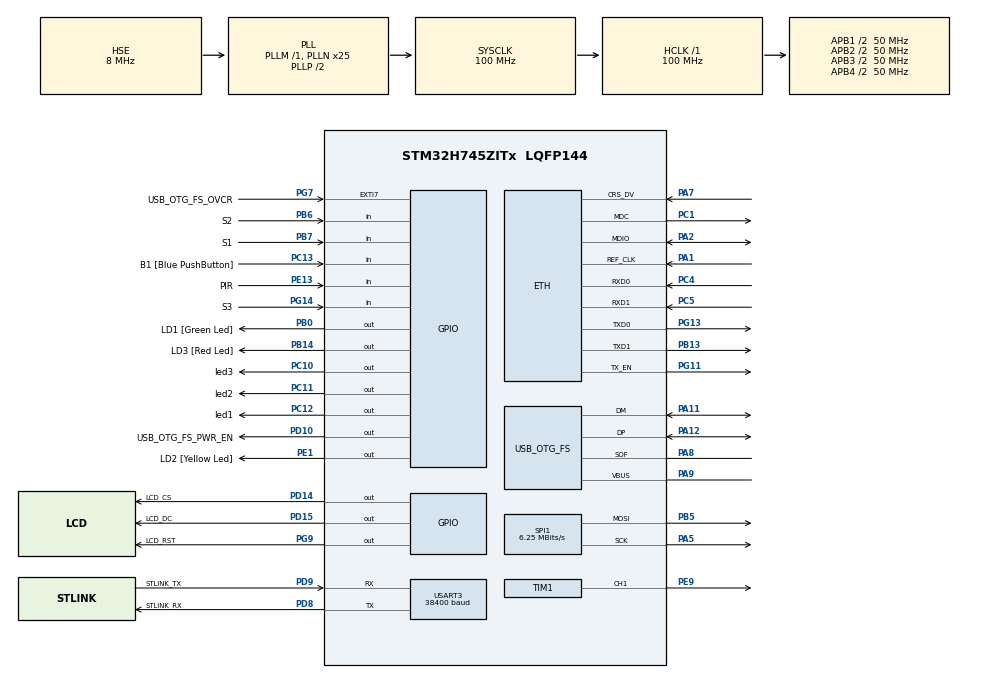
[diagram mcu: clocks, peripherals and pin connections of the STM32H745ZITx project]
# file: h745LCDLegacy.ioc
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CortexM4.IPs=FATFS_M4\:I,FREERTOS_M4\:I,IWDG2\:I,RCC,WWDG2\:I,DMA,BDMA,MDMA,NVIC2\:I,ETH,DEBUG,USB_DEVICE_M4\:I,USB_HOST_M4\:I,PDM2PCM_M4\:I,PWR,RESMGR_UTILITY,SYS_M4\:I,CORTEX_M4\:I,OPENAMP_M4\:I,VREFBUF
CortexM4.Pins=PE13,PG14,PB6,PB7
CortexM7.IPs=FATFS_M7\:I,FREERTOS_M7\:I,IWDG1\:I,RCC\:I,WWDG1\:I,DMA\:I,BDMA\:I,MDMA\:I,NVIC1\:I,SYS\:I,USART3\:I,USB_OTG_FS\:I,ETH\:I,CORTEX_M7\:I,DEBUG\:I,USB_DEVICE_M7\:I,USB_HOST_M7\:I,PDM2PCM_M7\:I,PWR\:I,RESMGR_UTILITY\:I,OPENAMP_M7\:I,VREFBUF\:I,SPI1\:I,TIM1\:I,RTC\:I
CortexM7.Pins=PB0,PD14,PD15,PC10,PC11,PC12,PG9
Dma.Request0=SPI1_TX
Dma.Request1=USART3_RX
Dma.Request2=USART3_TX
Dma.SPI1_TX.0.Direction=DMA_MEMORY_TO_PERIPH
Dma.SPI1_TX.0.EventEnable=DISABLE
Dma.SPI1_TX.0.FIFOMode=DMA_FIFOMODE_DISABLE
Dma.SPI1_TX.0.Instance=DMA1_Stream0
Dma.SPI1_TX.0.MemDataAlignment=DMA_MDATAALIGN_BYTE
Dma.SPI1_TX.0.MemInc=DMA_MINC_ENABLE
Dma.SPI1_TX.0.Mode=DMA_NORMAL
Dma.SPI1_TX.0.PeriphDataAlignment=DMA_PDATAALIGN_BYTE
Dma.SPI1_TX.0.PeriphInc=DMA_PINC_DISABLE
Dma.SPI1_TX.0.Polarity=HAL_DMAMUX_REQ_GEN_RISING
Dma.SPI1_TX.0.Priority=DMA_PRIORITY_LOW
Dma.SPI1_TX.0.RequestNumber=1
Dma.SPI1_TX.0.SignalID=NONE
Dma.SPI1_TX.0.SyncEnable=DISABLE
Dma.SPI1_TX.0.SyncPolarity=HAL_DMAMUX_SYNC_NO_EVENT
Dma.SPI1_TX.0.SyncRequestNumber=1
Dma.SPI1_TX.0.SyncSignalID=NONE
Dma.USART3_RX.1.Direction=DMA_PERIPH_TO_MEMORY
Dma.USART3_RX.1.EventEnable=DISABLE
Dma.USART3_RX.1.FIFOMode=DMA_FIFOMODE_DISABLE
Dma.USART3_RX.1.Instance=DMA1_Stream1
Dma.USART3_RX.1.MemDataAlignment=DMA_MDATAALIGN_BYTE
Dma.USART3_RX.1.MemInc=DMA_MINC_ENABLE
Dma.USART3_RX.1.Mode=DMA_CIRCULAR
Dma.USART3_RX.1.PeriphDataAlignment=DMA_PDATAALIGN_BYTE
Dma.USART3_RX.1.PeriphInc=DMA_PINC_DISABLE
Dma.USART3_RX.1.Polarity=HAL_DMAMUX_REQ_GEN_RISING
Dma.USART3_RX.1.Priority=DMA_PRIORITY_LOW
Dma.USART3_RX.1.RequestNumber=1
Dma.USART3_RX.1.SignalID=NONE
Dma.USART3_RX.1.SyncEnable=DISABLE
Dma.USART3_RX.1.SyncPolarity=HAL_DMAMUX_SYNC_NO_EVENT
Dma.USART3_RX.1.SyncRequestNumber=1
Dma.USART3_RX.1.SyncSignalID=NONE
Dma.USART3_TX.2.Direction=DMA_MEMORY_TO_PERIPH
Dma.USART3_TX.2.EventEnable=DISABLE
Dma.USART3_TX.2.FIFOMode=DMA_FIFOMODE_DISABLE
Dma.USART3_TX.2.Instance=DMA1_Stream2
Dma.USART3_TX.2.MemDataAlignment=DMA_MDATAALIGN_BYTE
Dma.USART3_TX.2.MemInc=DMA_MINC_ENABLE
Dma.USART3_TX.2.Mode=DMA_NORMAL
Dma.USART3_TX.2.PeriphDataAlignment=DMA_PDATAALIGN_BYTE
Dma.USART3_TX.2.PeriphInc=DMA_PINC_DISABLE
Dma.USART3_TX.2.Polarity=HAL_DMAMUX_REQ_GEN_RISING
Dma.USART3_TX.2.Priority=DMA_PRIORITY_LOW
Dma.USART3_TX.2.RequestNumber=1
Dma.USART3_TX.2.SignalID=NONE
Dma.USART3_TX.2.SyncEnable=DISABLE
Dma.USART3_TX.2.SyncPolarity=HAL_DMAMUX_SYNC_NO_EVENT
Dma.USART3_TX.2.SyncRequestNumber=1
Dma.USART3_TX.2.SyncSignalID=NONE
ETH.MediaInterface=HAL_ETH_RMII_MODE
Mcu.Family=STM32H7
Mcu.Name=STM32H745ZITx
Mcu.Package=LQFP144
NVIC1.DMA1_Stream0_IRQn=true\:0\:0\:false\:false\:true\:false\:true
NVIC1.DMA1_Stream1_IRQn=true\:0\:0\:false\:false\:true\:false\:true
NVIC1.DMA1_Stream2_IRQn=true\:0\:0\:false\:false\:true\:false\:true
NVIC1.PriorityGroup=NVIC_PRIORITYGROUP_4
NVIC1.RTC_Alarm_IRQn=true\:0\:0\:false\:false\:true\:true\:true
NVIC1.SPI1_IRQn=true\:0\:0\:false\:false\:true\:false\:true
NVIC1.USART3_IRQn=true\:0\:0\:false\:false\:true\:true\:true
NVIC2.PriorityGroup=NVIC_PRIORITYGROUP_4
PA1.Mode=RMII
PA1.PinAttribute=CortexM7
PA1.Signal=ETH_REF_CLK
PA11.Mode=Device_Only
PA11.PinAttribute=CortexM7
PA11.Signal=USB_OTG_FS_DM
PA12.Mode=Device_Only
PA12.PinAttribute=CortexM7
PA12.Signal=USB_OTG_FS_DP
PA2.Mode=RMII
PA2.PinAttribute=CortexM7
PA2.Signal=ETH_MDIO
PA5.Mode=TX_Only_Simplex_Unidirect_Master
PA5.PinAttribute=CortexM7
PA5.Signal=SPI1_SCK
PA7.Mode=RMII
PA7.PinAttribute=CortexM7
PA7.Signal=ETH_CRS_DV
PA8.Mode=Activate_SOF_FS
PA8.PinAttribute=CortexM7
PA8.Signal=USB_OTG_FS_SOF
PA9.Mode=Activate_VBUS
PA9.PinAttribute=CortexM7
PA9.Signal=USB_OTG_FS_VBUS
PB0.GPIO_Label=LD1 [Green Led]
PB0.PinAttribute=CortexM7
PB0.Signal=GPIO_Output
PB13.Mode=RMII
PB13.PinAttribute=CortexM7
PB13.Signal=ETH_TXD1
PB14.GPIO_Label=LD3 [Red Led]
PB14.PinAttribute=Free
PB14.Signal=GPIO_Output
PB5.Mode=TX_Only_Simplex_Unidirect_Master
PB5.PinAttribute=CortexM7
PB5.Signal=SPI1_MOSI
PB6.GPIO_Label=S2
PB6.GPIO_Mode=GPIO_MODE_INPUT
PB6.PinAttribute=CortexM4
PB6.Signal=GPIO_Input
PB7.GPIO_Label=S1
PB7.GPIO_Mode=GPIO_MODE_INPUT
PB7.PinAttribute=CortexM4
PB7.Signal=GPIO_Input
PC1.Mode=RMII
PC1.PinAttribute=CortexM7
PC1.Signal=ETH_MDC
PC10.GPIO_Label=led3
PC10.PinAttribute=CortexM7
PC10.PinState=GPIO_PIN_SET
PC10.Signal=GPIO_Output
PC11.GPIO_Label=led2
PC11.PinAttribute=CortexM7
PC11.PinState=GPIO_PIN_SET
PC11.Signal=GPIO_Output
PC12.GPIO_Label=led1
PC12.PinAttribute=CortexM7
PC12.PinState=GPIO_PIN_SET
PC12.Signal=GPIO_Output
PC13.GPIO_Label=B1 [Blue PushButton]
PC13.PinAttribute=Free
PC13.Signal=GPIO_Input
PC14-OSC32_IN\ (OSC32_IN).Mode=LSE-External-Oscillator
PC14-OSC32_IN\ (OSC32_IN).PinAttribute=CortexM7
PC14-OSC32_IN\ (OSC32_IN).Signal=RCC_OSC32_IN
PC15-OSC32_OUT\ (OSC32_OUT).Mode=LSE-External-Oscillator
PC15-OSC32_OUT\ (OSC32_OUT).PinAttribute=CortexM7
PC15-OSC32_OUT\ (OSC32_OUT).Signal=RCC_OSC32_OUT
PC4.Mode=RMII
PC4.PinAttribute=CortexM7
PC4.Signal=ETH_RXD0
PC5.Mode=RMII
PC5.PinAttribute=CortexM7
PC5.Signal=ETH_RXD1
PD10.GPIO_Label=USB_OTG_FS_PWR_EN
PD10.PinAttribute=Free
PD10.Signal=GPIO_Output
PD14.GPIO_Label=LCD_CS
PD14.PinAttribute=CortexM7
PD14.PinState=GPIO_PIN_SET
PD14.Signal=GPIO_Output
PD15.GPIO_Label=LCD_DC
PD15.PinAttribute=CortexM7
PD15.Signal=GPIO_Output
PD8.GPIO_Label=STLINK_RX
PD8.Mode=Asynchronous
PD8.PinAttribute=CortexM7
PD8.Signal=USART3_TX
PD9.GPIO_Label=STLINK_TX
PD9.Mode=Asynchronous
PD9.PinAttribute=CortexM7
PD9.Signal=USART3_RX
PE1.GPIO_Label=LD2 [Yellow Led]
PE1.PinAttribute=Free
PE1.Signal=GPIO_Output
PE13.GPIO_Label=PIR
PE13.PinAttribute=CortexM4
PE13.Signal=GPIO_Input
PE9.PinAttribute=CortexM7
PE9.Signal=S_TIM1_CH1
PG11.Mode=RMII
PG11.PinAttribute=CortexM7
PG11.Signal=ETH_TX_EN
PG13.Mode=RMII
PG13.PinAttribute=CortexM7
PG13.Signal=ETH_TXD0
PG14.GPIO_Label=S3
PG14.GPIO_Mode=GPIO_MODE_INPUT
PG14.PinAttribute=CortexM4
PG14.Signal=GPIO_Input
PG7.GPIO_Label=USB_OTG_FS_OVCR
PG7.PinAttribute=Free
PG7.Signal=GPXTI7
PG9.GPIO_Label=LCD_RST
PG9.PinAttribute=CortexM7
PG9.PinState=GPIO_PIN_SET
PG9.Signal=GPIO_Output
PH0-OSC_IN\ (PH0).Mode=HSE-External-Clock-Source
PH0-OSC_IN\ (PH0).PinAttribute=CortexM7
PH0-OSC_IN\ (PH0).Signal=RCC_OSC_IN
PH1-OSC_OUT\ (PH1).PinAttribute=CortexM7
PH1-OSC_OUT\ (PH1).Signal=RCC_OSC_OUT
ProjectManager.HeapSize=M4-0x200,M7-0x200
ProjectManager.StackSize=M4-0x400,M7-0x400
ProjectManager.TargetToolchain=STM32CubeIDE
RCC.ADCFreq_Value=16125000
RCC.APB1Freq_Value=50000000
RCC.APB2Freq_Value=50000000
RCC.APB3Freq_Value=50000000
RCC.APB4Freq_Value=50000000
RCC.CortexFreq_Value=100000000
RCC.D1PPRE=RCC_APB3_DIV2
RCC.D2PPRE1=RCC_APB1_DIV2
RCC.D2PPRE2=RCC_APB2_DIV2
RCC.D3PPRE=RCC_APB4_DIV2
RCC.DIVM1=1
RCC.DIVM3=1
RCC.DIVN1=25
RCC.DIVN3=18
RCC.DIVQ3=3
RCC.HCLKFreq_Value=100000000
RCC.HSE_VALUE=8000000
RCC.PLL2FRACN=0
RCC.PLL3FRACN=6144
RCC.PLLFRACN=0
RCC.PWR_Regulator_Voltage_Scale=PWR_REGULATOR_VOLTAGE_SCALE0
RCC.SYSCLKFreq_VALUE=100000000
RCC.SYSCLKSource=RCC_SYSCLKSOURCE_PLLCLK
RCC.SupplySource=PWR_DIRECT_SMPS_SUPPLY
RCC.USBCLockSelection=RCC_USBCLKSOURCE_PLL3
RCC.USBFreq_Value=50000000
RTC.Alarm-Alarm\ A=RTC_ALARM_A
RTC.AlarmMaskHours-Alarm\ A=RTC_ALARMMASK_HOURS
RTC.AlarmMaskMinutes-Alarm\ A=RTC_ALARMMASK_MINUTES
RTC.AlarmMaskSeconds-Alarm\ A=RTC_ALARMMASK_SECONDS
SH.S_TIM1_CH1.0=TIM1_CH1,PWM Generation1 CH1
SPI1.BaudRatePrescaler=SPI_BAUDRATEPRESCALER_16
SPI1.CalculateBaudRate=6.25 MBits/s
SPI1.DataSize=SPI_DATASIZE_8BIT
SPI1.Direction=SPI_DIRECTION_2LINES_TXONLY
SPI1.MasterKeepIOState=SPI_MASTER_KEEP_IO_STATE_ENABLE
SPI1.Mode=SPI_MODE_MASTER
SPI1.VirtualType=VM_MASTER
TIM1.Channel-PWM\ Generation1\ CH1=TIM_CHANNEL_1
TIM1.Period=10000
TIM1.Prescaler=0
USART3.BaudRate=38400
USART3.VirtualMode-Asynchronous=VM_ASYNC
USB_OTG_FS.VirtualMode=Device_Only
VP_RTC_VS_RTC_Activate.Mode=RTC_Enabled
VP_RTC_VS_RTC_Alarm_A_Intern.Mode=Alarm A
VP_RTC_VS_RTC_Calendar.Mode=RTC_Calendar
VP_RTC_VS_RTC_WakeUp_intern.Mode=WakeUp
VP_SYS_M4_VS_Systick.Mode=SysTick
VP_TIM1_VS_ClockSourceINT.Mode=Internal
board=NUCLEO-H745ZI-Q

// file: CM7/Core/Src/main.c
/* USER CODE BEGIN Header */
/**
 ******************************************************************************
 * @file           : main.c
 * @brief          : Main program body
 ******************************************************************************
 * @attention
 *
 * <h2><center>&copy; Copyright (c) 2021 STMicroelectronics.
 * All rights reserved.</center></h2>
 *
 * This software component is licensed by ST under BSD 3-Clause license,
 * the "License"; You may not use this file except in compliance with the
 * License. You may obtain a copy of the License at:
 *                        opensource.org/licenses/BSD-3-Clause
 *
 ******************************************************************************
 */
/* USER CODE END Header */
#include "main.h"
#include "string.h"

/* USER CODE BEGIN Includes */
#include "ST7735.h"
#include "Uart.h"
/* USER CODE END Includes */

/* USER CODE BEGIN PTD */
RTC_TimeTypeDef sTime={0};
RTC_DateTypeDef sDate ={0};
RTC_AlarmTypeDef sAlarm = { 0 };
/* USER CODE END PTD */

/* USER CODE BEGIN PD */

#ifndef HSEM_ID_0
#define HSEM_ID_0 (0U) /* HW semaphore 0*/
#endif
/* USER CODE END PD */

#if defined ( __ICCARM__ ) /*!< IAR Compiler */

#pragma location=0x30040000
ETH_DMADescTypeDef  DMARxDscrTab[ETH_RX_DESC_CNT]; /* Ethernet Rx DMA Descriptors */
#pragma location=0x30040060
ETH_DMADescTypeDef  DMATxDscrTab[ETH_TX_DESC_CNT]; /* Ethernet Tx DMA Descriptors */
#pragma location=0x30040200
uint8_t Rx_Buff[ETH_RX_DESC_CNT][ETH_MAX_PACKET_SIZE]; /* Ethernet Receive Buffers */

#elif defined ( __CC_ARM )  /* MDK ARM Compiler */

__attribute__((at(0x30040000))) ETH_DMADescTypeDef  DMARxDscrTab[ETH_RX_DESC_CNT]; /* Ethernet Rx DMA Descriptors */
__attribute__((at(0x30040060))) ETH_DMADescTypeDef  DMATxDscrTab[ETH_TX_DESC_CNT]; /* Ethernet Tx DMA Descriptors */
__attribute__((at(0x30040200))) uint8_t Rx_Buff[ETH_RX_DESC_CNT][ETH_MAX_PACKET_SIZE]; /* Ethernet Receive Buffer */

#elif defined ( __GNUC__ ) /* GNU Compiler */

ETH_DMADescTypeDef DMARxDscrTab[ETH_RX_DESC_CNT] __attribute__((section(".RxDecripSection"))); /* Ethernet Rx DMA Descriptors */
ETH_DMADescTypeDef DMATxDscrTab[ETH_TX_DESC_CNT] __attribute__((section(".TxDecripSection")));   /* Ethernet Tx DMA Descriptors */
uint8_t Rx_Buff[ETH_RX_DESC_CNT][ETH_MAX_PACKET_SIZE] __attribute__((section(".RxArraySection"))); /* Ethernet Receive Buffers */

#endif

ETH_TxPacketConfig TxConfig;

ETH_HandleTypeDef heth;

RTC_HandleTypeDef hrtc;

SPI_HandleTypeDef hspi1;
DMA_HandleTypeDef hdma_spi1_tx;

TIM_HandleTypeDef htim1;

UART_HandleTypeDef huart3;
DMA_HandleTypeDef hdma_usart3_rx;
DMA_HandleTypeDef hdma_usart3_tx;

PCD_HandleTypeDef hpcd_USB_OTG_FS;

/* USER CODE BEGIN PV */
//share information
typedef struct
{
	uint32_t PWM; //pulse width modulation
	uint8_t fan_mode; //fan mode
	uint8_t mode_change; //fan has changed mode
	uint8_t RTC_ON; //rtc is working
	uint8_t RTC_change; //rtc has changed status
	uint8_t finish; //finish task (motor run 1 min)
	uint8_t led1; //led1 status
	uint8_t led2; //led2 status
	uint8_t led3; //led3 status
}SharedType;

SharedType *shareMemory = (SharedType*)(0x38000000); //share memory address

LCDHandle ST7735 = { 0 }; //lcd pin
UARTStucrture UART2 ={ 0 };

//RTC time
RTC_TimeTypeDef NowTime;
RTC_DateTypeDef NowDate;
uint8_t RTC_start = 1;

/* USER CODE END PV */

void SystemClock_Config(void);
static void MX_GPIO_Init(void);
static void MX_ETH_Init(void);
static void MX_USART3_UART_Init(void);
static void MX_DMA_Init(void);
static void MX_SPI1_Init(void);
static void MX_USB_OTG_FS_PCD_Init(void);
static void MX_TIM1_Init(void);
static void MX_RTC_Init(void);

int main(void)
{
/* USER CODE BEGIN Boot_Mode_Sequence_0 */
	int32_t timeout;
/* USER CODE END Boot_Mode_Sequence_0 */

/* USER CODE BEGIN Boot_Mode_Sequence_1 */
	/* Wait until CPU2 boots and enters in stop mode or timeout*/
	timeout = 0xFFFF;
	while ((__HAL_RCC_GET_FLAG(RCC_FLAG_D2CKRDY) != RESET) && (timeout-- > 0))
		;
	if (timeout < 0) {
		Error_Handler();
	}
/* USER CODE END Boot_Mode_Sequence_1 */
  /* MCU Configuration--------------------------------------------------------*/

  /* Reset of all peripherals, Initializes the Flash interface and the Systick. */
  HAL_Init();

  /* Configure the system clock */
  SystemClock_Config();
/* USER CODE BEGIN Boot_Mode_Sequence_2 */
	/* When system initialization is finished, Cortex-M7 will release Cortex-M4 by means of
	 HSEM notification */
	/*HW semaphore Clock enable*/
	__HAL_RCC_HSEM_CLK_ENABLE();
	/*Take HSEM */
	HAL_HSEM_FastTake(HSEM_ID_0);
	/*Release HSEM in order to notify the CPU2(CM4)*/
	HAL_HSEM_Release(HSEM_ID_0, 0);
	/* wait until CPU2 wakes up from stop mode */
	timeout = 0xFFFF;
	while ((__HAL_RCC_GET_FLAG(RCC_FLAG_D2CKRDY) == RESET) && (timeout-- > 0))
		;
	if (timeout < 0) {
		Error_Handler();
	}
/* USER CODE END Boot_Mode_Sequence_2 */

  /* Initialize all configured peripherals */
  MX_GPIO_Init();
  MX_ETH_Init();
  MX_USART3_UART_Init();
  MX_DMA_Init();
  MX_SPI1_Init();
  MX_USB_OTG_FS_PCD_Init();
  MX_TIM1_Init();
  MX_RTC_Init();
  /* USER CODE BEGIN 2 */

  	//�?ำหนดขา pin
	ST7735.hspi = &hspi1;
	ST7735.CSPort = GPIOD;
	ST7735.CSPin = GPIO_PIN_14;
	ST7735.DCPort = GPIOD;
	ST7735.DCPin = GPIO_PIN_15;
	ST7735.RstPort = GPIOG;
	ST7735.RstPin = GPIO_PIN_9;
	//เริ่ม�?ารเขียน sequence data
	LCD_init(&ST7735);

	//รับข้อมูลภาพด้วย uart
//	UART2.huart = &huart3;
//	UART2.RxLen =255;
//	UART2.TxLen =255;
//	UARTInit(&UART2);
//	UARTResetStart(&UART2);

	//start pwm
	//tim1 @APB2 timer clock 100 MHz
	//counter period 10000 -> 10 kHz
	//couter period 10000 = pwm 100%
	HAL_TIM_Base_Start(&htim1);
	HAL_TIM_PWM_Start(&htim1, TIM_CHANNEL_1);

	//initial parameter
	shareMemory->PWM = 2500; //pwm @ 25%
	shareMemory->fan_mode = 1; //fan low speed
	shareMemory->mode_change = 0; //if fan changes mode
	shareMemory->RTC_ON = 0; //does rtc work?
	shareMemory->RTC_change = 0; //rtc change
	shareMemory->finish = 0; //does fan work 1 min?
	shareMemory->led1 = 0; //led1 status
	shareMemory->led2 = 1; //led2 status
	shareMemory->led3 = 1; //led3 status

	//led setup
	HAL_GPIO_WritePin(led1_GPIO_Port, led1_Pin, shareMemory->led1); //show led1
	HAL_GPIO_WritePin(led2_GPIO_Port, led2_Pin, shareMemory->led2); //close led2
	HAL_GPIO_WritePin(led3_GPIO_Port, led3_Pin, shareMemory->led3); //close led3

	//lcd UI
	memcpy(Framememory,fan,sizeof(fan)); //background
	LCD_speed(shareMemory->fan_mode); //show fan mode
	LCD_fan(shareMemory->RTC_ON); //show rtc status
	LCD_timer(0x00); //show timer
	//flush ข้อมูล dma
	LCD_flush(&ST7735);

  /* USER CODE END 2 */

  /* Infinite loop */
	while (1) {

    /* USER CODE BEGIN 3 */
		if (HAL_HSEM_FastTake(1) == HAL_OK) //hsem cm7 is ready
		{

			if (shareMemory->RTC_change ) //rtc status change
			{
				LCD_fan(shareMemory->RTC_ON); //show fan status on
				LCD_flush(&ST7735); //spi transmit dma normal
				shareMemory->RTC_change = 0; //change rtc status (reset)

				//rtc work
				//start clock
				RTC_TimeTypeDef sTime = {0};
				sTime.Hours =0x00; //0x14 (2 pm.)
				sTime.Minutes =0x00; //0x30 (half hour or 30 min)
				sTime.Seconds = 0x00; // 0 second
				HAL_RTC_SetTime(&hrtc, &sTime, RTC_FORMAT_BCD);//set rtc

			}

			if (shareMemory->mode_change) //fan mode chande
			{
				LCD_speed(shareMemory->fan_mode); //change fan speed
				LCD_flush(&ST7735); //spi transmit dma normal
				shareMemory->mode_change = 0; ////change fan status (reset)
				HAL_GPIO_WritePin(led1_GPIO_Port, led1_Pin, shareMemory->led1); //show led1
				HAL_GPIO_WritePin(led2_GPIO_Port, led2_Pin, shareMemory->led2); //show led2
				HAL_GPIO_WritePin(led3_GPIO_Port, led3_Pin, shareMemory->led3); //show led3
			}

			if (shareMemory->RTC_ON == 1) //if rtc work
			{
				RTC_TimeTypeDef sTime = NowTime; //save time

				//time over flow
				if (sTime.Seconds >= 0x60)
				{
					sTime.Seconds -= 0x60;
					sTime.Minutes++;
					if (sTime.Minutes >= 0x60)
					{
						sTime.Minutes -= 0x60;
						sTime.Hours++;
						if (sTime.Hours >= 0x24)
						{
							sTime.Hours -= 0x24;
						}
					}
				}

				//if fan does not work for 1 min
				if (sTime.Minutes < 0x01)
				{
					__HAL_TIM_SET_COMPARE(&htim1, TIM_CHANNEL_1, shareMemory->PWM); //drive motor

					//show timer every 15 sec
					if (sTime.Seconds == 0x00 || sTime.Seconds == 0x15 || sTime.Seconds ==0x30 ||sTime.Seconds == 0x45)
					{
						LCD_timer(sTime.Seconds); //show timer
						LCD_flush(&ST7735); //spi transmit dma normal
					}

				}
				//if fan works for 1 min
				else
				{
					shareMemory->RTC_ON = 0; //rtc work done (reset)
					shareMemory->finish = 1; //work for 1 min is done
					__HAL_TIM_SET_COMPARE(&htim1, TIM_CHANNEL_1,0); //stop driving motor

					LCD_timer(0x60); //show 60 sec
					LCD_fan(shareMemory->RTC_ON); //show rtc status
					LCD_flush(&ST7735); //spi transmit dma normal

				}
			}

			//read RTC
			HAL_RTC_GetTime(&hrtc, &NowTime, RTC_FORMAT_BCD);
			HAL_RTC_GetDate(&hrtc, &NowDate, RTC_FORMAT_BCD);

			//hsem release
			HAL_HSEM_Release(1, 0);
		}

		//test lcd
//		Framememory[20000] = 255;
//		Framememory[20001] = 0;
//		Framememory[20002] = 0;
//		memcpy(Framememory,owl,sizeof(owl));

//		int16_t read = UARTReadChar(&UART2) ;
//		if(read != -1)
//			{
//				BMPDecoder(read, LCDBufferAddr());
//			}
	}
  /* USER CODE END 3 */
}

void SystemClock_Config(void)
{
  RCC_OscInitTypeDef RCC_OscInitStruct = {0};
  RCC_ClkInitTypeDef RCC_ClkInitStruct = {0};

  /** Supply configuration update enable
  */
  HAL_PWREx_ConfigSupply(PWR_DIRECT_SMPS_SUPPLY);
  /** Configure the main internal regulator output voltage
  */
  __HAL_PWR_VOLTAGESCALING_CONFIG(PWR_REGULATOR_VOLTAGE_SCALE0);

  while(!__HAL_PWR_GET_FLAG(PWR_FLAG_VOSRDY)) {}
  /** Macro to configure the PLL clock source
  */
  __HAL_RCC_PLL_PLLSOURCE_CONFIG(RCC_PLLSOURCE_HSE);
  /** Initializes the RCC Oscillators according to the specified parameters
  * in the RCC_OscInitTypeDef structure.
  */
  RCC_OscInitStruct.OscillatorType = RCC_OSCILLATORTYPE_LSI|RCC_OSCILLATORTYPE_HSE;
  RCC_OscInitStruct.HSEState = RCC_HSE_BYPASS;
  RCC_OscInitStruct.LSIState = RCC_LSI_ON;
  RCC_OscInitStruct.PLL.PLLState = RCC_PLL_ON;
  RCC_OscInitStruct.PLL.PLLSource = RCC_PLLSOURCE_HSE;
  RCC_OscInitStruct.PLL.PLLM = 1;
  RCC_OscInitStruct.PLL.PLLN = 25;
  RCC_OscInitStruct.PLL.PLLP = 2;
  RCC_OscInitStruct.PLL.PLLQ = 2;
  RCC_OscInitStruct.PLL.PLLR = 2;
  RCC_OscInitStruct.PLL.PLLRGE = RCC_PLL1VCIRANGE_3;
  RCC_OscInitStruct.PLL.PLLVCOSEL = RCC_PLL1VCOWIDE;
  RCC_OscInitStruct.PLL.PLLFRACN = 0;
  if (HAL_RCC_OscConfig(&RCC_OscInitStruct) != HAL_OK)
  {
    Error_Handler();
  }
  /** Initializes the CPU, AHB and APB buses clocks
  */
  RCC_ClkInitStruct.ClockType = RCC_CLOCKTYPE_HCLK|RCC_CLOCKTYPE_SYSCLK
                              |RCC_CLOCKTYPE_PCLK1|RCC_CLOCKTYPE_PCLK2
                              |RCC_CLOCKTYPE_D3PCLK1|RCC_CLOCKTYPE_D1PCLK1;
  RCC_ClkInitStruct.SYSCLKSource = RCC_SYSCLKSOURCE_PLLCLK;
  RCC_ClkInitStruct.SYSCLKDivider = RCC_SYSCLK_DIV1;
  RCC_ClkInitStruct.AHBCLKDivider = RCC_HCLK_DIV1;
  RCC_ClkInitStruct.APB3CLKDivider = RCC_APB3_DIV2;
  RCC_ClkInitStruct.APB1CLKDivider = RCC_APB1_DIV2;
  RCC_ClkInitStruct.APB2CLKDivider = RCC_APB2_DIV2;
  RCC_ClkInitStruct.APB4CLKDivider = RCC_APB4_DIV2;

  if (HAL_RCC_ClockConfig(&RCC_ClkInitStruct, FLASH_LATENCY_1) != HAL_OK)
  {
    Error_Handler();
  }
}

static void MX_ETH_Init(void)
{

   static uint8_t MACAddr[6];

  heth.Instance = ETH;
  MACAddr[0] = 0x00;
  MACAddr[1] = 0x80;
  MACAddr[2] = 0xE1;
  MACAddr[3] = 0x00;
  MACAddr[4] = 0x00;
  MACAddr[5] = 0x00;
  heth.Init.MACAddr = &MACAddr[0];
  heth.Init.MediaInterface = HAL_ETH_RMII_MODE;
  heth.Init.TxDesc = DMATxDscrTab;
  heth.Init.RxDesc = DMARxDscrTab;
  heth.Init.RxBuffLen = 1524;

  if (HAL_ETH_Init(&heth) != HAL_OK)
  {
    Error_Handler();
  }

  memset(&TxConfig, 0 , sizeof(ETH_TxPacketConfig));
  TxConfig.Attributes = ETH_TX_PACKETS_FEATURES_CSUM | ETH_TX_PACKETS_FEATURES_CRCPAD;
  TxConfig.ChecksumCtrl = ETH_CHECKSUM_IPHDR_PAYLOAD_INSERT_PHDR_CALC;
  TxConfig.CRCPadCtrl = ETH_CRC_PAD_INSERT;

}

static void MX_RTC_Init(void)
{

  RTC_TimeTypeDef sTime = {0};
  RTC_DateTypeDef sDate = {0};
  RTC_AlarmTypeDef sAlarm = {0};

  /** Initialize RTC Only
  */
  hrtc.Instance = RTC;
  hrtc.Init.HourFormat = RTC_HOURFORMAT_24;
  hrtc.Init.AsynchPrediv = 127;
  hrtc.Init.SynchPrediv = 255;
  hrtc.Init.OutPut = RTC_OUTPUT_DISABLE;
  hrtc.Init.OutPutPolarity = RTC_OUTPUT_POLARITY_HIGH;
  hrtc.Init.OutPutType = RTC_OUTPUT_TYPE_OPENDRAIN;
  hrtc.Init.OutPutRemap = RTC_OUTPUT_REMAP_NONE;
  if (HAL_RTC_Init(&hrtc) != HAL_OK)
  {
    Error_Handler();
  }

  /** Initialize RTC and set the Time and Date
  */
  sTime.Hours = 0x0;
  sTime.Minutes = 0x0;
  sTime.Seconds = 0x0;
  sTime.DayLightSaving = RTC_DAYLIGHTSAVING_NONE;
  sTime.StoreOperation = RTC_STOREOPERATION_RESET;
  if (HAL_RTC_SetTime(&hrtc, &sTime, RTC_FORMAT_BCD) != HAL_OK)
  {
    Error_Handler();
  }
  sDate.WeekDay = RTC_WEEKDAY_MONDAY;
  sDate.Month = RTC_MONTH_JANUARY;
  sDate.Date = 0x1;
  sDate.Year = 0x0;
  if (HAL_RTC_SetDate(&hrtc, &sDate, RTC_FORMAT_BCD) != HAL_OK)
  {
    Error_Handler();
  }
  /** Enable the Alarm A
  */
  sAlarm.AlarmTime.Hours = 0x0;
  sAlarm.AlarmTime.Minutes = 0x0;
  sAlarm.AlarmTime.Seconds = 0x0;
  sAlarm.AlarmTime.SubSeconds = 0x0;
  sAlarm.AlarmTime.DayLightSaving = RTC_DAYLIGHTSAVING_NONE;
  sAlarm.AlarmTime.StoreOperation = RTC_STOREOPERATION_RESET;
  sAlarm.AlarmMask = RTC_ALARMMASK_HOURS|RTC_ALARMMASK_MINUTES
                              |RTC_ALARMMASK_SECONDS;
  sAlarm.AlarmSubSecondMask = RTC_ALARMSUBSECONDMASK_ALL;
  sAlarm.AlarmDateWeekDaySel = RTC_ALARMDATEWEEKDAYSEL_DATE;
  sAlarm.AlarmDateWeekDay = 0x1;
  sAlarm.Alarm = RTC_ALARM_A;
  if (HAL_RTC_SetAlarm_IT(&hrtc, &sAlarm, RTC_FORMAT_BCD) != HAL_OK)
  {
    Error_Handler();
  }

}

static void MX_SPI1_Init(void)
{

  /* SPI1 parameter configuration*/
  hspi1.Instance = SPI1;
  hspi1.Init.Mode = SPI_MODE_MASTER;
  hspi1.Init.Direction = SPI_DIRECTION_2LINES_TXONLY;
  hspi1.Init.DataSize = SPI_DATASIZE_8BIT;
  hspi1.Init.CLKPolarity = SPI_POLARITY_LOW;
  hspi1.Init.CLKPhase = SPI_PHASE_1EDGE;
  hspi1.Init.NSS = SPI_NSS_SOFT;
  hspi1.Init.BaudRatePrescaler = SPI_BAUDRATEPRESCALER_16;
  hspi1.Init.FirstBit = SPI_FIRSTBIT_MSB;
  hspi1.Init.TIMode = SPI_TIMODE_DISABLE;
  hspi1.Init.CRCCalculation = SPI_CRCCALCULATION_DISABLE;
  hspi1.Init.CRCPolynomial = 0x0;
  hspi1.Init.NSSPMode = SPI_NSS_PULSE_ENABLE;
  hspi1.Init.NSSPolarity = SPI_NSS_POLARITY_LOW;
  hspi1.Init.FifoThreshold = SPI_FIFO_THRESHOLD_01DATA;
  hspi1.Init.TxCRCInitializationPattern = SPI_CRC_INITIALIZATION_ALL_ZERO_PATTERN;
  hspi1.Init.RxCRCInitializationPattern = SPI_CRC_INITIALIZATION_ALL_ZERO_PATTERN;
  hspi1.Init.MasterSSIdleness = SPI_MASTER_SS_IDLENESS_00CYCLE;
  hspi1.Init.MasterInterDataIdleness = SPI_MASTER_INTERDATA_IDLENESS_00CYCLE;
  hspi1.Init.MasterReceiverAutoSusp = SPI_MASTER_RX_AUTOSUSP_DISABLE;
  hspi1.Init.MasterKeepIOState = SPI_MASTER_KEEP_IO_STATE_ENABLE;
  hspi1.Init.IOSwap = SPI_IO_SWAP_DISABLE;
  if (HAL_SPI_Init(&hspi1) != HAL_OK)
  {
    Error_Handler();
  }

}

static void MX_TIM1_Init(void)
{

  TIM_ClockConfigTypeDef sClockSourceConfig = {0};
  TIM_MasterConfigTypeDef sMasterConfig = {0};
  TIM_OC_InitTypeDef sConfigOC = {0};
  TIM_BreakDeadTimeConfigTypeDef sBreakDeadTimeConfig = {0};

  htim1.Instance = TIM1;
  htim1.Init.Prescaler = 0;
  htim1.Init.CounterMode = TIM_COUNTERMODE_UP;
  htim1.Init.Period = 10000;
  htim1.Init.ClockDivision = TIM_CLOCKDIVISION_DIV1;
  htim1.Init.RepetitionCounter = 0;
  htim1.Init.AutoReloadPreload = TIM_AUTORELOAD_PRELOAD_DISABLE;
  if (HAL_TIM_Base_Init(&htim1) != HAL_OK)
  {
    Error_Handler();
  }
  sClockSourceConfig.ClockSource = TIM_CLOCKSOURCE_INTERNAL;
  if (HAL_TIM_ConfigClockSource(&htim1, &sClockSourceConfig) != HAL_OK)
  {
    Error_Handler();
  }
  if (HAL_TIM_PWM_Init(&htim1) != HAL_OK)
  {
    Error_Handler();
  }
  sMasterConfig.MasterOutputTrigger = TIM_TRGO_RESET;
  sMasterConfig.MasterOutputTrigger2 = TIM_TRGO2_RESET;
  sMasterConfig.MasterSlaveMode = TIM_MASTERSLAVEMODE_DISABLE;
  if (HAL_TIMEx_MasterConfigSynchronization(&htim1, &sMasterConfig) != HAL_OK)
  {
    Error_Handler();
  }
  sConfigOC.OCMode = TIM_OCMODE_PWM1;
  sConfigOC.Pulse = 0;
  sConfigOC.OCPolarity = TIM_OCPOLARITY_HIGH;
  sConfigOC.OCNPolarity = TIM_OCNPOLARITY_HIGH;
  sConfigOC.OCFastMode = TIM_OCFAST_DISABLE;
  sConfigOC.OCIdleState = TIM_OCIDLESTATE_RESET;
  sConfigOC.OCNIdleState = TIM_OCNIDLESTATE_RESET;
  if (HAL_TIM_PWM_ConfigChannel(&htim1, &sConfigOC, TIM_CHANNEL_1) != HAL_OK)
  {
    Error_Handler();
  }
  sBreakDeadTimeConfig.OffStateRunMode = TIM_OSSR_DISABLE;
  sBreakDeadTimeConfig.OffStateIDLEMode = TIM_OSSI_DISABLE;
  sBreakDeadTimeConfig.LockLevel = TIM_LOCKLEVEL_OFF;
  sBreakDeadTimeConfig.DeadTime = 0;
  sBreakDeadTimeConfig.BreakState = TIM_BREAK_DISABLE;
  sBreakDeadTimeConfig.BreakPolarity = TIM_BREAKPOLARITY_HIGH;
  sBreakDeadTimeConfig.BreakFilter = 0;
  sBreakDeadTimeConfig.Break2State = TIM_BREAK2_DISABLE;
  sBreakDeadTimeConfig.Break2Polarity = TIM_BREAK2POLARITY_HIGH;
  sBreakDeadTimeConfig.Break2Filter = 0;
  sBreakDeadTimeConfig.AutomaticOutput = TIM_AUTOMATICOUTPUT_DISABLE;
  if (HAL_TIMEx_ConfigBreakDeadTime(&htim1, &sBreakDeadTimeConfig) != HAL_OK)
  {
    Error_Handler();
  }
  HAL_TIM_MspPostInit(&htim1);

}

static void MX_USART3_UART_Init(void)
{

  huart3.Instance = USART3;
  huart3.Init.BaudRate = 38400;
  huart3.Init.WordLength = UART_WORDLENGTH_8B;
  huart3.Init.StopBits = UART_STOPBITS_1;
  huart3.Init.Parity = UART_PARITY_NONE;
  huart3.Init.Mode = UART_MODE_TX_RX;
  huart3.Init.HwFlowCtl = UART_HWCONTROL_NONE;
  huart3.Init.OverSampling = UART_OVERSAMPLING_16;
  huart3.Init.OneBitSampling = UART_ONE_BIT_SAMPLE_DISABLE;
  huart3.Init.ClockPrescaler = UART_PRESCALER_DIV1;
  huart3.AdvancedInit.AdvFeatureInit = UART_ADVFEATURE_NO_INIT;
  if (HAL_UART_Init(&huart3) != HAL_OK)
  {
    Error_Handler();
  }
  if (HAL_UARTEx_SetTxFifoThreshold(&huart3, UART_TXFIFO_THRESHOLD_1_8) != HAL_OK)
  {
    Error_Handler();
  }
  if (HAL_UARTEx_SetRxFifoThreshold(&huart3, UART_RXFIFO_THRESHOLD_1_8) != HAL_OK)
  {
    Error_Handler();
  }
  if (HAL_UARTEx_DisableFifoMode(&huart3) != HAL_OK)
  {
    Error_Handler();
  }

}

static void MX_USB_OTG_FS_PCD_Init(void)
{

  hpcd_USB_OTG_FS.Instance = USB_OTG_FS;
  hpcd_USB_OTG_FS.Init.dev_endpoints = 9;
  hpcd_USB_OTG_FS.Init.speed = PCD_SPEED_FULL;
  hpcd_USB_OTG_FS.Init.dma_enable = DISABLE;
  hpcd_USB_OTG_FS.Init.phy_itface = PCD_PHY_EMBEDDED;
  hpcd_USB_OTG_FS.Init.Sof_enable = DISABLE;
  hpcd_USB_OTG_FS.Init.low_power_enable = DISABLE;
  hpcd_USB_OTG_FS.Init.lpm_enable = DISABLE;
  hpcd_USB_OTG_FS.Init.battery_charging_enable = ENABLE;
  hpcd_USB_OTG_FS.Init.vbus_sensing_enable = ENABLE;
  hpcd_USB_OTG_FS.Init.use_dedicated_ep1 = DISABLE;
  if (HAL_PCD_Init(&hpcd_USB_OTG_FS) != HAL_OK)
  {
    Error_Handler();
  }

}

static void MX_DMA_Init(void)
{

  /* DMA controller clock enable */
  __HAL_RCC_DMA1_CLK_ENABLE();

  /* DMA interrupt init */
  /* DMA1_Stream0_IRQn interrupt configuration */
  HAL_NVIC_SetPriority(DMA1_Stream0_IRQn, 0, 0);
  HAL_NVIC_EnableIRQ(DMA1_Stream0_IRQn);
  /* DMA1_Stream1_IRQn interrupt configuration */
  HAL_NVIC_SetPriority(DMA1_Stream1_IRQn, 0, 0);
  HAL_NVIC_EnableIRQ(DMA1_Stream1_IRQn);
  /* DMA1_Stream2_IRQn interrupt configuration */
  HAL_NVIC_SetPriority(DMA1_Stream2_IRQn, 0, 0);
  HAL_NVIC_EnableIRQ(DMA1_Stream2_IRQn);

}

static void MX_GPIO_Init(void)
{
  GPIO_InitTypeDef GPIO_InitStruct = {0};

  /* GPIO Ports Clock Enable */
  __HAL_RCC_GPIOC_CLK_ENABLE();
  __HAL_RCC_GPIOH_CLK_ENABLE();
  __HAL_RCC_GPIOA_CLK_ENABLE();
  __HAL_RCC_GPIOB_CLK_ENABLE();
  __HAL_RCC_GPIOE_CLK_ENABLE();
  __HAL_RCC_GPIOD_CLK_ENABLE();
  __HAL_RCC_GPIOG_CLK_ENABLE();

  /*Configure GPIO pin Output Level */
  HAL_GPIO_WritePin(LD1_GPIO_Port, LD1_Pin, GPIO_PIN_RESET);

  /*Configure GPIO pin Output Level */
  HAL_GPIO_WritePin(LCD_CS_GPIO_Port, LCD_CS_Pin, GPIO_PIN_SET);

  /*Configure GPIO pin Output Level */
  HAL_GPIO_WritePin(LCD_DC_GPIO_Port, LCD_DC_Pin, GPIO_PIN_RESET);

  /*Configure GPIO pin Output Level */
  HAL_GPIO_WritePin(GPIOC, led3_Pin|led2_Pin|led1_Pin, GPIO_PIN_SET);

  /*Configure GPIO pin Output Level */
  HAL_GPIO_WritePin(LCD_RST_GPIO_Port, LCD_RST_Pin, GPIO_PIN_SET);

  /*Configure GPIO pin : LD1_Pin */
  GPIO_InitStruct.Pin = LD1_Pin;
  GPIO_InitStruct.Mode = GPIO_MODE_OUTPUT_PP;
  GPIO_InitStruct.Pull = GPIO_NOPULL;
  GPIO_InitStruct.Speed = GPIO_SPEED_FREQ_LOW;
  HAL_GPIO_Init(LD1_GPIO_Port, &GPIO_InitStruct);

  /*Configure GPIO pins : LCD_CS_Pin LCD_DC_Pin */
  GPIO_InitStruct.Pin = LCD_CS_Pin|LCD_DC_Pin;
  GPIO_InitStruct.Mode = GPIO_MODE_OUTPUT_PP;
  GPIO_InitStruct.Pull = GPIO_NOPULL;
  GPIO_InitStruct.Speed = GPIO_SPEED_FREQ_LOW;
  HAL_GPIO_Init(GPIOD, &GPIO_InitStruct);

  /*Configure GPIO pins : led3_Pin led2_Pin led1_Pin */
  GPIO_InitStruct.Pin = led3_Pin|led2_Pin|led1_Pin;
  GPIO_InitStruct.Mode = GPIO_MODE_OUTPUT_PP;
  GPIO_InitStruct.Pull = GPIO_NOPULL;
  GPIO_InitStruct.Speed = GPIO_SPEED_FREQ_LOW;
  HAL_GPIO_Init(GPIOC, &GPIO_InitStruct);

  /*Configure GPIO pin : LCD_RST_Pin */
  GPIO_InitStruct.Pin = LCD_RST_Pin;
  GPIO_InitStruct.Mode = GPIO_MODE_OUTPUT_PP;
  GPIO_InitStruct.Pull = GPIO_NOPULL;
  GPIO_InitStruct.Speed = GPIO_SPEED_FREQ_LOW;
  HAL_GPIO_Init(LCD_RST_GPIO_Port, &GPIO_InitStruct);

}

/* USER CODE BEGIN 4 */
void HAL_RTC_AlarmAEventCallback(RTC_HandleTypeDef *hrtc)
{
	shareMemory->RTC_ON = 0; //rtc work done (reset)
	shareMemory->finish = 1; //work for 1 min is done
	__HAL_TIM_SET_COMPARE(&htim1, TIM_CHANNEL_1,0); //stop driving motor

	LCD_timer(0x60); //show 60 sec
	LCD_fan(shareMemory->RTC_ON); //show rtc status
	LCD_flush(&ST7735); //spi transmit dma normal

}

/* USER CODE END 4 */

void Error_Handler(void)
{
	__disable_irq();
	while (1) {
	}
}

/************************ (C) COPYRIGHT STMicroelectronics *****END OF FILE****/
